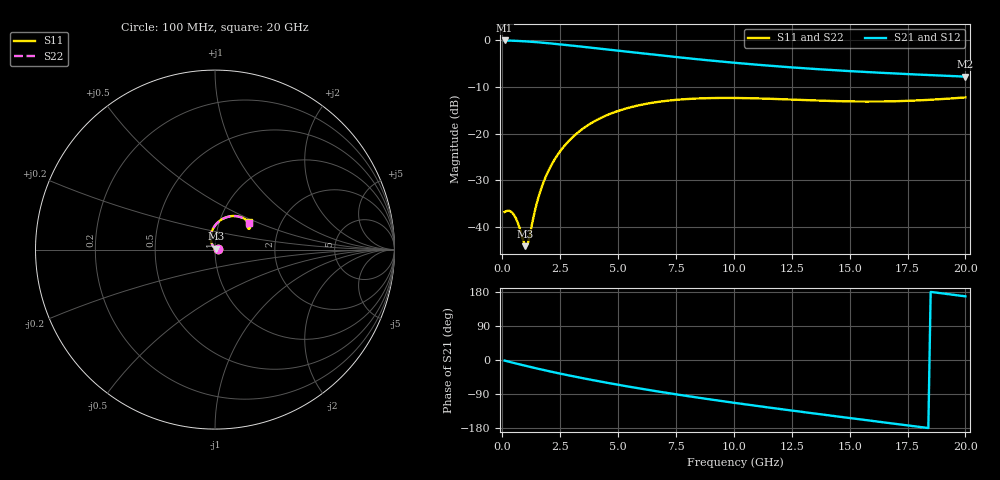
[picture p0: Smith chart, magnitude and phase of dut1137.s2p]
! Touchstone file exported from HFSS 2024.1.0
!  File:  C:/UserFiles/LocalFiles/RDL_TSV_Batchsim/temp_RDL_TSV_1137_1780112988.aedt
!  Generated:  12:03:30 PM May 30, 2026
!  Design:  RDL_TSV
!  Project:  temp_RDL_TSV_1137_1780112988
!  Setup:  Setup1
!  Solution:  Sweep
! Variables:
!  dtsv = 8.1um
!  hbump = 3um
!  htsv = 63.1um
!  ldown = 556.11um
!  lrdl = 318.16um
!  p = 40
!  p1 = 44.47um
!  rhole = 10um
!  subl = 2940.97um
!  t = 450um
!  tdown = 4.64um
!  trdl = 2.19um
!  viad = 10um
!  wdown = 27.9um
!  wrdl = 23.71um
!  xbump = 18um
# GHz S MA R 50.000000
! Terminal data exported
! Port[1] = TM1_1_T1
! Port[2] = TM1_4_T1
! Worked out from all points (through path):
!   200 points, 100 MHz to 20 GHz, reference 50 ohm
!   highest |S21| = -0.13 dB at 100 MHz (marker M1); lowest = -7.8 dB at 20 GHz (marker M2)
!   group delay of S21, straight-line fit = 25.4 ps
!   lowest |S11| = -44.0 dB at 1 GHz (marker M3), VSWR 1.01, Z = 50.4 + j0.488 ohm
!   |S11| at or under -10 dB: start of sweep to end of sweep
!   |S22| runs from -44.0 to -12.3 dB; largest |S21 - S12| = 9.3e-15
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0.1  0.01459 3.7  0.9851 -1.6  0.9851 -1.6  0.01459 3.7
! Gamma 0 0 0 0
! Port Impedance 50 0 50 0
0.3  0.01502 5.9  0.9819 -4.8  0.9819 -4.8  0.01502 5.9
0.5  0.01363 6.0  0.9778 -7.8  0.9778 -7.8  0.01363 6.0
0.7  0.01068 10.4  0.9728 -10.8  0.9728 -10.8  0.0107 10.3
1  0.006294 50.3  0.9635 -15.3  0.9635 -15.3  0.006302 49.9
1.1  0.006664 76.4  0.9599 -16.7  0.9599 -16.7  0.006649 76.0
1.4  0.01473 114.2  0.948 -21.1  0.948 -21.1  0.01466 114.0
1.6  0.02254 118.8  0.9391 -23.9  0.9391 -23.9  0.02243 118.7
1.8  0.03119 119.1  0.9298 -26.7  0.9298 -26.7  0.03106 119.1
2  0.04041 117.7  0.92 -29.4  0.92 -29.4  0.04025 117.6
2.3  0.05491 114.1  0.9049 -33.3  0.9049 -33.3  0.0547 114.1
2.7  0.07479 108.4  0.8842 -38.5  0.8842 -38.5  0.07452 108.3
3.5  0.1137 96.4  0.8424 -48.3  0.8424 -48.3  0.1133 96.4
4.2  0.1445 86.7  0.8063 -56.5  0.8063 -56.5  0.1441 86.7
4.9  0.171 77.9  0.7714 -64.2  0.7714 -64.2  0.1704 77.9
6.8  0.2191 58.7  0.6844 -83.8  0.6844 -83.8  0.2184 58.6
8.4  0.2366 47.0  0.622 -98.8  0.622 -98.8  0.2359 46.9
10.1  0.2398 38.4  0.5674 -113.7  0.5674 -113.7  0.2391 38.3
11.7  0.2345 33.5  0.526 -127.0  0.526 -127.0  0.2339 33.4
13.4  0.2262 31.4  0.4908 -140.6  0.4908 -140.6  0.2256 31.3
16.7  0.2206 34.2  0.4408 -166.4  0.4408 -166.4  0.2201 34.1
20  0.2431 38.7  0.4052 168.0  0.4052 168.0  0.2425 38.5
